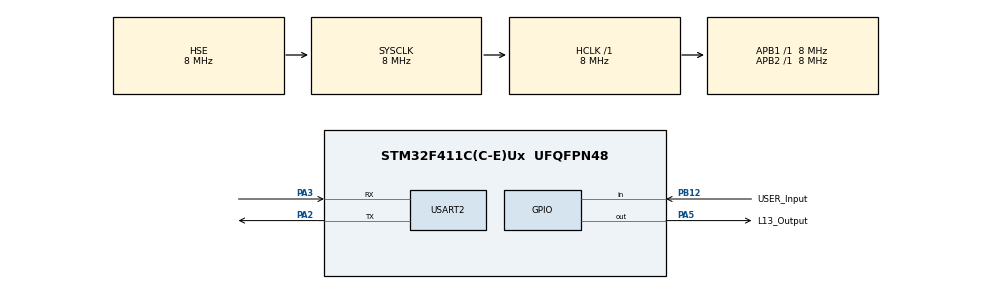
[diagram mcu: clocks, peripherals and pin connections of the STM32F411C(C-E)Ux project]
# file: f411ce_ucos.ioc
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Mcu.Family=STM32F4
Mcu.Name=STM32F411C(C-E)Ux
Mcu.Package=UFQFPN48
NVIC.PriorityGroup=NVIC_PRIORITYGROUP_4
NVIC.TIM1_TRG_COM_TIM11_IRQn=true\:0\:0\:false\:false\:true\:false\:true
NVIC.TimeBase=TIM1_TRG_COM_TIM11_IRQn
NVIC.TimeBaseIP=TIM11
PA2.Mode=Asynchronous
PA2.Signal=USART2_TX
PA3.Mode=Asynchronous
PA3.Signal=USART2_RX
PA5.GPIO_Label=L13_Output
PA5.Signal=GPIO_Output
PB12.GPIO_Label=USER_Input
PB12.Signal=GPIO_Input
PH0\ -\ OSC_IN.Mode=HSE-External-Oscillator
PH0\ -\ OSC_IN.Signal=RCC_OSC_IN
PH1\ -\ OSC_OUT.Mode=HSE-External-Oscillator
PH1\ -\ OSC_OUT.Signal=RCC_OSC_OUT
ProjectManager.HeapSize=0x200
ProjectManager.StackSize=0x400
ProjectManager.TargetToolchain=Makefile
RCC.48MHZClocksFreq_Value=32000000
RCC.AHBFreq_Value=8000000
RCC.APB1Freq_Value=8000000
RCC.APB1TimFreq_Value=8000000
RCC.APB2Freq_Value=8000000
RCC.APB2TimFreq_Value=8000000
RCC.CortexFreq_Value=8000000
RCC.HCLKFreq_Value=8000000
RCC.HSE_VALUE=8000000
RCC.HSI_VALUE=16000000
RCC.LSE_VALUE=32768
RCC.PLLM=4
RCC.PLLN=64
RCC.PLLSourceVirtual=RCC_PLLSOURCE_HSE
RCC.SYSCLKFreq_VALUE=8000000
RCC.SYSCLKSource=RCC_SYSCLKSOURCE_HSE
RCC.VCOOutputFreq_Value=128000000
USART2.VirtualMode=VM_ASYNC
VP_SYS_VS_tim11.Mode=TIM11
board=custom

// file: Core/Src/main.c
/* USER CODE BEGIN Header */
/**
  ******************************************************************************
  * @file           : main.c
  * @brief          : Main program body
  ******************************************************************************
  * @attention
  *
  * <h2><center>&copy; Copyright (c) 2021 STMicroelectronics.
  * All rights reserved.</center></h2>
  *
  * This software component is licensed by ST under BSD 3-Clause license,
  * the "License"; You may not use this file except in compliance with the
  * License. You may obtain a copy of the License at:
  *                        opensource.org/licenses/BSD-3-Clause
  *
  ******************************************************************************
  */
/* USER CODE END Header */
#include "main.h"

/* USER CODE BEGIN PD */
#define APP_TASK_START_STK_SIZE 128
#define APP_TASK_START_PRIO 2
/* USER CODE END PD */

UART_HandleTypeDef huart2;

/* USER CODE BEGIN PV */
static OS_TCB AppTaskStartTCB;
static CPU_STK AppTaskStartStk[APP_TASK_START_STK_SIZE];

/* USER CODE END PV */

void SystemClock_Config(void);
static void MX_GPIO_Init(void);
static void MX_USART2_UART_Init(void);
/* USER CODE BEGIN PFP */
static void AppTaskStart  (void *p_arg);

/* USER CODE END PFP */

int main(void)
{
  /* USER CODE BEGIN 1 */
  OS_ERR err;
  /* USER CODE END 1 */

  /* MCU Configuration--------------------------------------------------------*/

  /* Reset of all peripherals, Initializes the Flash interface and the Systick. */
  HAL_Init();

  /* Configure the system clock */
  SystemClock_Config();

  /* Initialize all configured peripherals */
  MX_GPIO_Init();
  MX_USART2_UART_Init();
  /* USER CODE BEGIN 2 */

  OSInit(&err);
  OSTaskCreate((OS_TCB     *)&AppTaskStartTCB,                /* Create the start task                                */
               (CPU_CHAR   *)"App Task Start",
               (OS_TASK_PTR ) AppTaskStart,
               (void       *) 0,
               (OS_PRIO     ) APP_TASK_START_PRIO,
               (CPU_STK    *)&AppTaskStartStk[0],
               (CPU_STK_SIZE) APP_TASK_START_STK_SIZE / 10,
               (CPU_STK_SIZE) APP_TASK_START_STK_SIZE,
               (OS_MSG_QTY  ) 5u,
               (OS_TICK     ) 0u,
               (void       *) 0,
               (OS_OPT      )(OS_OPT_TASK_STK_CHK | OS_OPT_TASK_STK_CLR),
               (OS_ERR     *)&err);
  OSStart(&err);
  /* USER CODE END 2 */

  /* Infinite loop */
  while (1)
  {

    /* USER CODE BEGIN 3 */
    /* Should not reach there */
    HAL_GPIO_TogglePin(L13_Output_GPIO_Port, L13_Output_Pin);
    HAL_Delay(100);
  }
  /* USER CODE END 3 */
}

void SystemClock_Config(void)
{
  RCC_OscInitTypeDef RCC_OscInitStruct = {0};
  RCC_ClkInitTypeDef RCC_ClkInitStruct = {0};

  /** Configure the main internal regulator output voltage
  */
  __HAL_RCC_PWR_CLK_ENABLE();
  __HAL_PWR_VOLTAGESCALING_CONFIG(PWR_REGULATOR_VOLTAGE_SCALE1);
  /** Initializes the RCC Oscillators according to the specified parameters
  * in the RCC_OscInitTypeDef structure.
  */
  RCC_OscInitStruct.OscillatorType = RCC_OSCILLATORTYPE_HSE;
  RCC_OscInitStruct.HSEState = RCC_HSE_ON;
  RCC_OscInitStruct.PLL.PLLState = RCC_PLL_NONE;
  if (HAL_RCC_OscConfig(&RCC_OscInitStruct) != HAL_OK)
  {
    Error_Handler();
  }
  /** Initializes the CPU, AHB and APB buses clocks
  */
  RCC_ClkInitStruct.ClockType = RCC_CLOCKTYPE_HCLK|RCC_CLOCKTYPE_SYSCLK
                              |RCC_CLOCKTYPE_PCLK1|RCC_CLOCKTYPE_PCLK2;
  RCC_ClkInitStruct.SYSCLKSource = RCC_SYSCLKSOURCE_HSE;
  RCC_ClkInitStruct.AHBCLKDivider = RCC_SYSCLK_DIV1;
  RCC_ClkInitStruct.APB1CLKDivider = RCC_HCLK_DIV1;
  RCC_ClkInitStruct.APB2CLKDivider = RCC_HCLK_DIV1;

  if (HAL_RCC_ClockConfig(&RCC_ClkInitStruct, FLASH_LATENCY_0) != HAL_OK)
  {
    Error_Handler();
  }
}

static void MX_USART2_UART_Init(void)
{

  huart2.Instance = USART2;
  huart2.Init.BaudRate = 115200;
  huart2.Init.WordLength = UART_WORDLENGTH_8B;
  huart2.Init.StopBits = UART_STOPBITS_1;
  huart2.Init.Parity = UART_PARITY_NONE;
  huart2.Init.Mode = UART_MODE_TX_RX;
  huart2.Init.HwFlowCtl = UART_HWCONTROL_NONE;
  huart2.Init.OverSampling = UART_OVERSAMPLING_16;
  if (HAL_UART_Init(&huart2) != HAL_OK)
  {
    Error_Handler();
  }

}

static void MX_GPIO_Init(void)
{
  GPIO_InitTypeDef GPIO_InitStruct = {0};

  /* GPIO Ports Clock Enable */
  __HAL_RCC_GPIOH_CLK_ENABLE();
  __HAL_RCC_GPIOA_CLK_ENABLE();
  __HAL_RCC_GPIOB_CLK_ENABLE();

  /*Configure GPIO pin Output Level */
  HAL_GPIO_WritePin(L13_Output_GPIO_Port, L13_Output_Pin, GPIO_PIN_RESET);

  /*Configure GPIO pin : L13_Output_Pin */
  GPIO_InitStruct.Pin = L13_Output_Pin;
  GPIO_InitStruct.Mode = GPIO_MODE_OUTPUT_PP;
  GPIO_InitStruct.Pull = GPIO_NOPULL;
  GPIO_InitStruct.Speed = GPIO_SPEED_FREQ_LOW;
  HAL_GPIO_Init(L13_Output_GPIO_Port, &GPIO_InitStruct);

  /*Configure GPIO pin : USER_Input_Pin */
  GPIO_InitStruct.Pin = USER_Input_Pin;
  GPIO_InitStruct.Mode = GPIO_MODE_INPUT;
  GPIO_InitStruct.Pull = GPIO_NOPULL;
  HAL_GPIO_Init(USER_Input_GPIO_Port, &GPIO_InitStruct);

}

/* USER CODE BEGIN 4 */

static  void  AppTaskStart (void *p_arg)
{
  CPU_INT32U  cpu_clk_freq;
  CPU_INT32U  cnts;
  OS_ERR      err;

  (void)p_arg;

  BSP_Init();                                                 /* Initialize BSP functions                             */
  CPU_Init();

  cpu_clk_freq = BSP_CPU_ClkFreq();                           /* Determine SysTick reference freq.                    */
  cnts = cpu_clk_freq / (CPU_INT32U)OSCfg_TickRate_Hz;        /* Determine nbr SysTick increments                     */
  OS_CPU_SysTickInit(cnts);                                   /* Init uC/OS periodic time src (SysTick).              */

  Mem_Init();
  while (DEF_TRUE) {                                          /* Task body, always written as an infinite loop.       */
    HAL_GPIO_TogglePin(L13_Output_GPIO_Port, L13_Output_Pin);
    OSTimeDly(500, OS_OPT_TIME_HMSM_STRICT, &err);
  }
}

/* USER CODE END 4 */

 /**
  * @brief  Period elapsed callback in non blocking mode
  * @note   This function is called  when TIM11 interrupt took place, inside
  * HAL_TIM_IRQHandler(). It makes a direct call to HAL_IncTick() to increment
  * a global variable "uwTick" used as application time base.
  * @param  htim : TIM handle
  * @retval None
  */
void HAL_TIM_PeriodElapsedCallback(TIM_HandleTypeDef *htim)
{
  if (htim->Instance == TIM11) {
    HAL_IncTick();
  }
}

void Error_Handler(void)
{
  __disable_irq();
  while (1)
  {
  }
}

/************************ (C) COPYRIGHT STMicroelectronics *****END OF FILE****/
